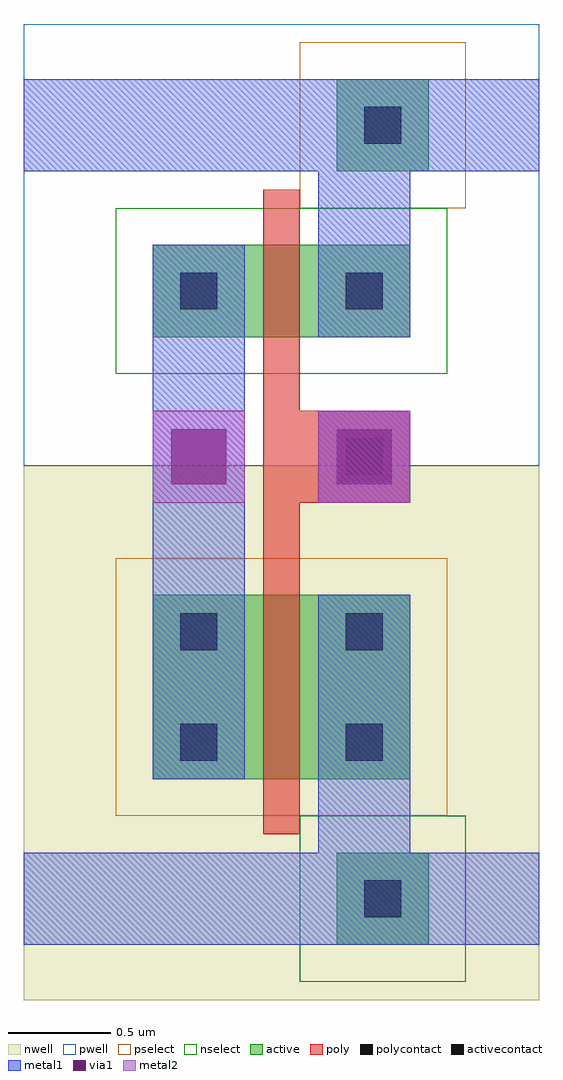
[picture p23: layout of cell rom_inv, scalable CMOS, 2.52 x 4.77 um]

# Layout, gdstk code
import gdstk
lib = gdstk.Library(unit=1e-6, precision=1e-09)
def R(c, l, rs):  # rectangles x0, y0, x1, y1
    for r in rs: c.add(gdstk.rectangle(r[:2], r[2:], *l))
pwell = (41, 0)
nwell = (42, 0)
active = (43, 0)
pselect = (44, 0)
nselect = (45, 0)
poly = (46, 0)
polycontact = (47, 0)
activecontact = (48, 0)
metal1 = (49, 0)
via1 = (50, 0)
metal2 = (51, 0)

rom_inv = lib.new_cell('rom_inv')
R(rom_inv, pwell, [(-0.99,1.44,1.53,3.6)])
R(rom_inv, nwell, [(-0.99,-1.17,1.53,1.44)])
R(rom_inv, active, [(0.54,-0.9,0.99,-0.45), (-0.36,-0.09,0.9,0.81), (-0.36,2.07,0.9,2.52), (0.54,2.88,0.99,3.33)])
R(rom_inv, pselect, [(-0.54,-0.27,1.08,0.99), (0.36,2.7,1.17,3.51)])
R(rom_inv, nselect, [(0.36,-1.08,1.17,-0.27), (-0.54,1.89,1.08,2.7)])
R(rom_inv, poly, [(0.18,-0.36,0.36,1.26), (0.18,1.26,0.9,1.71), (0.18,1.71,0.36,2.79)])
R(rom_inv, polycontact, [(0.585,1.395,0.765,1.575)])
R(rom_inv, activecontact, [(0.675,-0.765,0.855,-0.585), (-0.225,0,-0.045,0.18), (0.585,0,0.765,0.18), (-0.225,0.54,-0.045,0.72), (0.585,0.54,0.765,0.72), (-0.225,2.205,-0.045,2.385), (0.585,2.205,0.765,2.385), (0.675,3.015,0.855,3.195)])
R(rom_inv, metal1, [(-0.99,-0.9,1.53,-0.45), (0.45,-0.45,0.9,0.81), (-0.36,-0.09,0.09,2.52), (0.45,1.26,0.9,1.71), (0.45,2.07,0.9,2.88), (-0.99,2.88,1.53,3.33)])
R(rom_inv, via1, [(-0.27,1.35,0,1.62), (0.54,1.35,0.81,1.62)])
R(rom_inv, metal2, [(-0.36,1.26,0.09,1.71), (0.45,1.26,0.9,1.71)])

lib.write_gds('rom_inv.gds')
